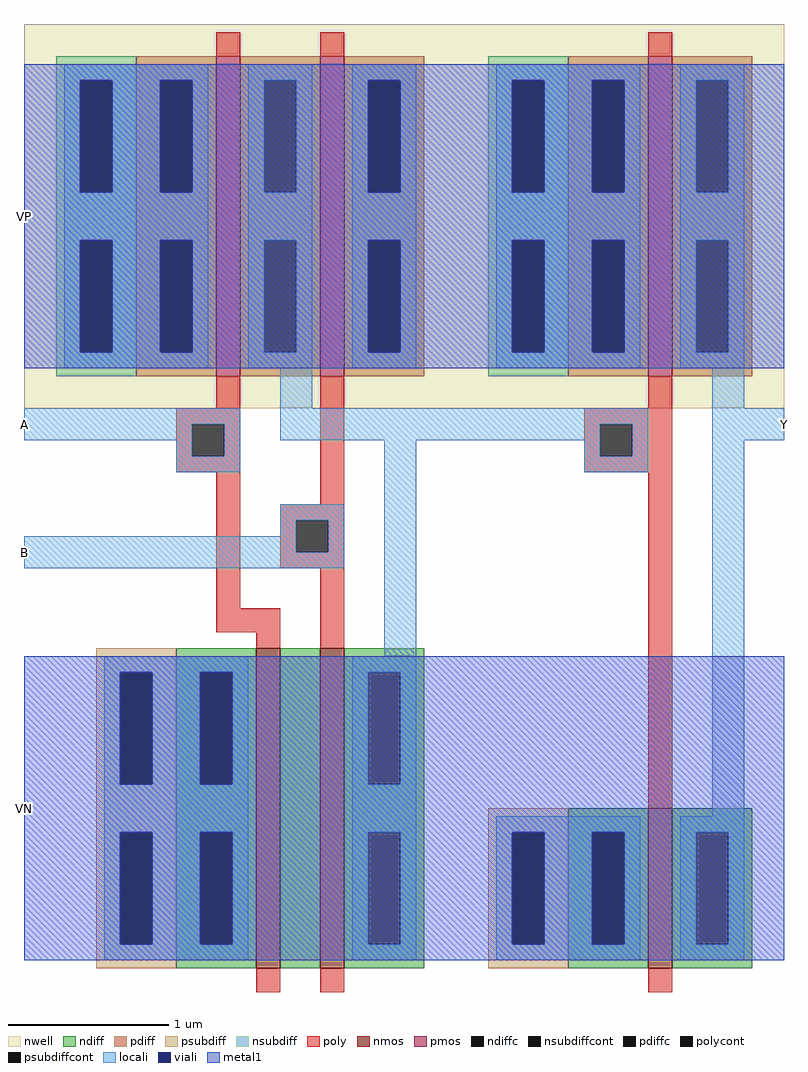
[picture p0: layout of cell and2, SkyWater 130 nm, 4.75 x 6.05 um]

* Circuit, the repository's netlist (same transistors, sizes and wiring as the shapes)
* SPICE3 file created from and2.ext - technology: sky130A

.subckt inverter A Y VP VN
M0 Y A VN VN sky130_fd_pr__nfet_01v8 ad=5e+11p pd=3e+06u as=5e+11p ps=3e+06u w=1e+06u l=150000u
M1 Y A VP VP sky130_fd_pr__pfet_01v8 ad=1e+12p pd=5e+06u as=1e+12p ps=5e+06u w=2e+06u l=150000u
.ends

.subckt nand2 A B Y VP VN
M0 Y A VP VP sky130_fd_pr__pfet_01v8 ad=1e+12p pd=5e+06u as=2e+12p ps=1e+07u w=2e+06u l=150000u
M1 Y B a_80_120# VN sky130_fd_pr__nfet_01v8 ad=1e+12p pd=5e+06u as=5e+11p ps=4.5e+06u w=2e+06u l=150000u
M2 a_80_120# A VN VN sky130_fd_pr__nfet_01v8 ad=0p pd=0u as=1e+12p ps=5e+06u w=2e+06u l=150000u
M3 VP B Y VP sky130_fd_pr__pfet_01v8 ad=0p pd=0u as=0p ps=0u w=2e+06u l=150000u
.ends


* Top level circuit and2

Xinverter_0 nand2_0/Y Y VP VN inverter
Xnand2_0 A B nand2_0/Y VP VN nand2
.end

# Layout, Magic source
magic
tech sky130A
<< locali >>
rect -270 345 -250 365
rect 185 345 205 365
rect -270 265 -250 285
<< metal1 >>
rect -270 390 -250 580
rect -270 20 -250 210
use nand2  nand2_0
transform 1 0 -150 0 1 -45
box -120 45 150 650
use inverter  inverter_0
transform 1 0 120 0 1 15
box -120 -15 85 590
<< labels >>
rlabel locali -270 355 -270 355 7 A
rlabel locali -270 275 -270 275 7 B
rlabel locali 205 355 205 355 3 Y
rlabel metal1 -270 485 -270 485 7 VP
rlabel metal1 -270 115 -270 115 7 VN
<< end >>

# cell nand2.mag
magic
tech sky130A
<< nwell >>
rect -120 410 150 650
<< nmos >>
rect 25 60 40 260
rect 65 60 80 260
<< pmos >>
rect 0 430 15 630
rect 65 430 80 630
<< ndiff >>
rect -25 245 25 260
rect -25 175 -10 245
rect 10 175 25 245
rect -25 145 25 175
rect -25 75 -10 145
rect 10 75 25 145
rect -25 60 25 75
rect 40 60 65 260
rect 80 245 130 260
rect 80 175 95 245
rect 115 175 130 245
rect 80 145 130 175
rect 80 75 95 145
rect 115 75 130 145
rect 80 60 130 75
<< pdiff >>
rect -50 615 0 630
rect -50 545 -35 615
rect -15 545 0 615
rect -50 515 0 545
rect -50 445 -35 515
rect -15 445 0 515
rect -50 430 0 445
rect 15 615 65 630
rect 15 545 30 615
rect 50 545 65 615
rect 15 515 65 545
rect 15 445 30 515
rect 50 445 65 515
rect 15 430 65 445
rect 80 615 130 630
rect 80 545 95 615
rect 115 545 130 615
rect 80 515 130 545
rect 80 445 95 515
rect 115 445 130 515
rect 80 430 130 445
<< ndiffc >>
rect -10 175 10 245
rect -10 75 10 145
rect 95 175 115 245
rect 95 75 115 145
<< pdiffc >>
rect -35 545 -15 615
rect -35 445 -15 515
rect 30 545 50 615
rect 30 445 50 515
rect 95 545 115 615
rect 95 445 115 515
<< psubdiff >>
rect -75 245 -25 260
rect -75 175 -60 245
rect -40 175 -25 245
rect -75 145 -25 175
rect -75 75 -60 145
rect -40 75 -25 145
rect -75 60 -25 75
<< nsubdiff >>
rect -100 615 -50 630
rect -100 545 -85 615
rect -65 545 -50 615
rect -100 515 -50 545
rect -100 445 -85 515
rect -65 445 -50 515
rect -100 430 -50 445
<< psubdiffcont >>
rect -60 175 -40 245
rect -60 75 -40 145
<< nsubdiffcont >>
rect -85 545 -65 615
rect -85 445 -65 515
<< poly >>
rect 0 630 15 645
rect 65 630 80 645
rect 0 410 15 430
rect -25 400 15 410
rect -25 380 -15 400
rect 5 380 15 400
rect -25 370 15 380
rect 0 285 15 370
rect 65 350 80 430
rect 40 340 80 350
rect 40 320 50 340
rect 70 320 80 340
rect 40 310 80 320
rect 0 270 40 285
rect 25 260 40 270
rect 65 260 80 310
rect 25 45 40 60
rect 65 45 80 60
<< polycont >>
rect -15 380 5 400
rect 50 320 70 340
<< locali >>
rect -95 615 -5 625
rect -95 545 -85 615
rect -65 545 -35 615
rect -15 545 -5 615
rect -95 515 -5 545
rect -95 445 -85 515
rect -65 445 -35 515
rect -15 445 -5 515
rect -95 435 -5 445
rect 20 615 60 625
rect 20 545 30 615
rect 50 545 60 615
rect 20 515 60 545
rect 20 445 30 515
rect 50 445 60 515
rect 20 435 60 445
rect 85 615 125 625
rect 85 545 95 615
rect 115 545 125 615
rect 85 515 125 545
rect 85 445 95 515
rect 115 445 125 515
rect 85 435 125 445
rect 40 410 60 435
rect -120 400 15 410
rect -120 390 -15 400
rect -25 380 -15 390
rect 5 380 15 400
rect 40 390 150 410
rect -25 370 15 380
rect 40 340 80 350
rect 40 330 50 340
rect -120 320 50 330
rect 70 320 80 340
rect -120 310 80 320
rect 105 255 125 390
rect -70 245 20 255
rect -70 175 -60 245
rect -40 175 -10 245
rect 10 175 20 245
rect -70 145 20 175
rect -70 75 -60 145
rect -40 75 -10 145
rect 10 75 20 145
rect -70 65 20 75
rect 85 245 125 255
rect 85 175 95 245
rect 115 175 125 245
rect 85 145 125 175
rect 85 75 95 145
rect 115 75 125 145
rect 85 65 125 75
<< viali >>
rect -85 545 -65 615
rect -35 545 -15 615
rect -85 445 -65 515
rect -35 445 -15 515
rect 95 545 115 615
rect 95 445 115 515
rect -60 175 -40 245
rect -10 175 10 245
rect -60 75 -40 145
rect -10 75 10 145
<< metal1 >>
rect -120 615 150 625
rect -120 545 -85 615
rect -65 545 -35 615
rect -15 545 95 615
rect 115 545 150 615
rect -120 515 150 545
rect -120 445 -85 515
rect -65 445 -35 515
rect -15 445 95 515
rect 115 445 150 515
rect -120 435 150 445
rect -120 245 150 255
rect -120 175 -60 245
rect -40 175 -10 245
rect 10 175 150 245
rect -120 145 150 175
rect -120 75 -60 145
rect -40 75 -10 145
rect 10 75 150 145
rect -120 65 150 75
<< labels >>
rlabel locali -120 400 -120 400 7 A
port 1 w
rlabel locali -120 320 -120 320 7 B
port 2 w
rlabel locali 150 400 150 400 3 Y
port 3 e
rlabel metal1 -120 530 -120 530 7 VP
port 4 w
rlabel metal1 -120 160 -120 160 7 VN
port 5 w
<< end >>

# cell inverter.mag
magic
tech sky130A
<< nwell >>
rect -120 350 85 590
<< nmos >>
rect 0 0 15 100
<< pmos >>
rect 0 370 15 570
<< ndiff >>
rect -50 85 0 100
rect -50 15 -35 85
rect -15 15 0 85
rect -50 0 0 15
rect 15 85 65 100
rect 15 15 30 85
rect 50 15 65 85
rect 15 0 65 15
<< pdiff >>
rect -50 555 0 570
rect -50 485 -35 555
rect -15 485 0 555
rect -50 455 0 485
rect -50 385 -35 455
rect -15 385 0 455
rect -50 370 0 385
rect 15 555 65 570
rect 15 485 30 555
rect 50 485 65 555
rect 15 455 65 485
rect 15 385 30 455
rect 50 385 65 455
rect 15 370 65 385
<< ndiffc >>
rect -35 15 -15 85
rect 30 15 50 85
<< pdiffc >>
rect -35 485 -15 555
rect -35 385 -15 455
rect 30 485 50 555
rect 30 385 50 455
<< psubdiff >>
rect -100 85 -50 100
rect -100 15 -85 85
rect -65 15 -50 85
rect -100 0 -50 15
<< nsubdiff >>
rect -100 555 -50 570
rect -100 485 -85 555
rect -65 485 -50 555
rect -100 455 -50 485
rect -100 385 -85 455
rect -65 385 -50 455
rect -100 370 -50 385
<< psubdiffcont >>
rect -85 15 -65 85
<< nsubdiffcont >>
rect -85 485 -65 555
rect -85 385 -65 455
<< poly >>
rect 0 570 15 585
rect 0 350 15 370
rect -40 340 15 350
rect -40 320 -30 340
rect -10 320 15 340
rect -40 310 15 320
rect 0 100 15 310
rect 0 -15 15 0
<< polycont >>
rect -30 320 -10 340
<< locali >>
rect -95 555 -5 565
rect -95 485 -85 555
rect -65 485 -35 555
rect -15 485 -5 555
rect -95 455 -5 485
rect -95 385 -85 455
rect -65 385 -35 455
rect -15 385 -5 455
rect -95 375 -5 385
rect 20 555 60 565
rect 20 485 30 555
rect 50 485 60 555
rect 20 455 60 485
rect 20 385 30 455
rect 50 385 60 455
rect 20 375 60 385
rect 40 350 60 375
rect -120 340 0 350
rect -120 330 -30 340
rect -40 320 -30 330
rect -10 320 0 340
rect -40 310 0 320
rect 40 330 85 350
rect 40 95 60 330
rect -95 85 -5 95
rect -95 15 -85 85
rect -65 15 -35 85
rect -15 15 -5 85
rect -95 5 -5 15
rect 20 85 60 95
rect 20 15 30 85
rect 50 15 60 85
rect 20 5 60 15
<< viali >>
rect -85 485 -65 555
rect -35 485 -15 555
rect -85 385 -65 455
rect -35 385 -15 455
rect -85 15 -65 85
rect -35 15 -15 85
<< metal1 >>
rect -120 555 85 565
rect -120 485 -85 555
rect -65 485 -35 555
rect -15 485 85 555
rect -120 455 85 485
rect -120 385 -85 455
rect -65 385 -35 455
rect -15 385 85 455
rect -120 375 85 385
rect -120 85 85 195
rect -120 15 -85 85
rect -65 15 -35 85
rect -15 15 85 85
rect -120 5 85 15
<< labels >>
rlabel locali -120 340 -120 340 7 A
port 1 w
rlabel locali 85 340 85 340 3 Y
port 2 e
rlabel metal1 -120 470 -120 470 7 VP
port 3 w
rlabel metal1 -120 100 -120 100 7 VN
port 4 w
<< end >>
